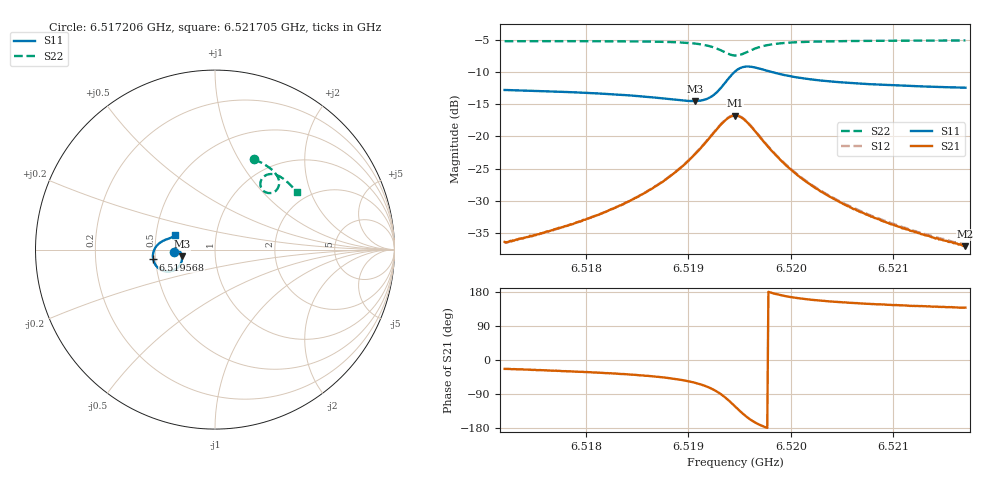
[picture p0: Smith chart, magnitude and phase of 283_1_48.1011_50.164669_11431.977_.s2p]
#  HZ  S  RI  R  50.00
! Rohde & Schwarz Vector Network Analyzer
! Rohde-Schwarz,ZNB20-2Port,1311601062101988,3.16
! Created: UTC 12/23/2023, 4:02:59 AM
! freq[Hz]  re:S11  im:S11  re:S21  im:S21  re:S12  im:S12  re:S22  im:S22
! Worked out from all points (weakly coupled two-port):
!   401 points, 6.517206 GHz to 6.521705 GHz, reference 50 ohm
!   highest |S21| = -16.77 dB at 6.519455 GHz (marker M1); lowest = -37.1 dB at 6.521705 GHz (marker M2)
!   lowest |S11| = -14.5 dB at 6.519062 GHz (marker M3), VSWR 1.46, Z = 34.4 - j2.63 ohm
!   |S11| at or under -10 dB: start of sweep to 6.51945 GHz; 6.519813 GHz to end of sweep
!   |S22| runs from -7.4 to -5.1 dB; largest |S21 - S12| = 0.0045
!   S11 on the Smith chart (normalised r, x): 6.517206 GHz: 0.63, -0.02; 6.519568 GHz: 0.49, -0.06; 6.521705 GHz: 0.63, +0.11
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6.5172062e9  -0.2288 -0.0128  0.0139 -0.00603  0.0139 -0.00547  0.218 0.5035
6.5175661e9  -0.2246 -0.00769  0.0157 -0.00797  0.0159 -0.00747  0.2444 0.4915
6.5179597e9  -0.2185 -0.00363  0.0188 -0.0113  0.0192 -0.0109  0.2734 0.476
6.5183645e9  -0.2097 -0.00235  0.0237 -0.0178  0.0243 -0.0172  0.3038 0.4558
6.5187132e9  -0.1985 -0.00813  0.0302 -0.0299  0.0312 -0.0291  0.331 0.4315
6.5189044e9  -0.1904 -0.0185  0.0344 -0.0431  0.0359 -0.0423  0.3459 0.4116
6.5190618e9  -0.1843 -0.0369  0.0361 -0.0623  0.0383 -0.0617  0.3559 0.3879
6.519163e9  -0.1844 -0.0575  0.0327 -0.0823  0.0355 -0.0818  0.3573 0.366
6.5192417e9  -0.1919 -0.0802  0.0224 -0.1027  0.0258 -0.1027  0.3515 0.3452
6.5193654e9  -0.2371 -0.1182  -0.0236 -0.1323  -0.0197 -0.1341  0.316 0.316
6.5194104e9  -0.2662 -0.1221  -0.0504 -0.1328  -0.0469 -0.1354  0.2947 0.3154
6.5194554e9  -0.2978 -0.1143  -0.0774 -0.1226  -0.0746 -0.1258  0.2738 0.3244
6.5195116e9  -0.3291 -0.0885  -0.1026 -0.0966  -0.1007 -0.1002  0.2564 0.3466
6.5195679e9  -0.3443 -0.0549  -0.1123 -0.0656  -0.1114 -0.0694  0.253 0.3722
6.5196803e9  -0.3382 -0.000319  -0.1009 -0.0196  -0.1012 -0.0227  0.2725 0.4073
6.5197928e9  -0.3181 0.0284  -0.0806 0.00162  -0.0814 -0.000619  0.2985 0.4196
6.5199727e9  -0.2917 0.0474  -0.0563 0.0127  -0.0573 0.0111  0.3308 0.419
6.5202089e9  -0.2704 0.0567  -0.0384 0.015  -0.0394 0.014  0.3597 0.4082
6.520535e9  -0.2535 0.063  -0.0258 0.0138  -0.0265 0.0133  0.3879 0.3893
6.5209624e9  -0.2402 0.0692  -0.0173 0.0118  -0.0181 0.0116  0.4165 0.3637
6.5214009e9  -0.2306 0.0751  -0.0126 0.0102  -0.0131 0.0101  0.4408 0.3371
6.5217046e9  -0.2252 0.0792  -0.0104 0.00934  -0.0109 0.00933  0.4559 0.3182
